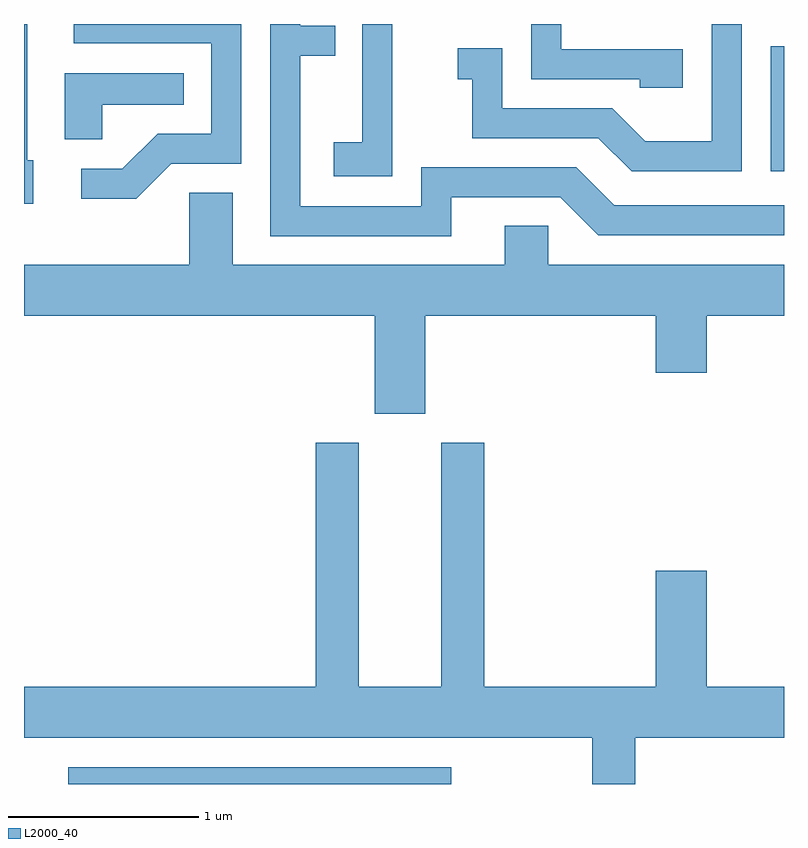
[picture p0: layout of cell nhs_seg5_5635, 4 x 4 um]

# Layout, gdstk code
import gdstk
lib = gdstk.Library(unit=1e-6, precision=1e-09)
def R(c, l, rs):  # rectangles x0, y0, x1, y1
    for r in rs: c.add(gdstk.rectangle(r[:2], r[2:], *l))
def P(c, l, *ps):  # polygons
    for p in ps: c.add(gdstk.Polygon(p, *l))
L2000_40 = (2000, 40)

nhs_seg5_5635 = lib.new_cell('nhs_seg5_5635')
R(nhs_seg5_5635, L2000_40, [(351.843,1492.072,353.859,1492.159), (355.541,1495.296,355.611,1495.954)])
P(nhs_seg5_5635, L2000_40, [(355.079,1495.939),(354.439,1495.939),(354.439,1496.072),(354.281,1496.072),(354.281,1495.781),(354.851,1495.781),(354.851,1495.736),(355.079,1495.736)],
  [(353.549,1496.072),(353.391,1496.072),(353.391,1495.449),(353.241,1495.449),(353.241,1495.271),(353.549,1495.271)],
  [(352.387,1495.336),(352.754,1495.336),(352.754,1496.072),(351.873,1496.072),(351.873,1495.971),(352.596,1495.971),(352.596,1495.494),(352.314,1495.494),(352.129,1495.309),(351.913,1495.309),(351.913,1495.151),(352.202,1495.151)],
  [(355.389,1496.072),(355.231,1496.072),(355.231,1495.454),(354.882,1495.454),(354.707,1495.629),(354.129,1495.629),(354.129,1495.944),(353.893,1495.944),(353.893,1495.781),(353.971,1495.781),(353.971,1495.471),(354.634,1495.471),(354.809,1495.296),(355.389,1495.296)],
  [(351.659,1495.354),(351.629,1495.354),(351.629,1496.072),(351.611,1496.072),(351.611,1495.126),(351.659,1495.126)],
  [(353.859,1495.161),(354.434,1495.161),(354.634,1494.961),(355.611,1494.961),(355.611,1495.119),(354.717,1495.119),(354.517,1495.319),(353.701,1495.319),(353.701,1495.114),(353.064,1495.114),(353.064,1495.906),(353.248,1495.906),(353.248,1496.064),(353.064,1496.064),(353.064,1496.072),(352.906,1496.072),(352.906,1494.956),(353.859,1494.956)],
  [(352.024,1495.646),(352.453,1495.646),(352.453,1495.814),(351.826,1495.814),(351.826,1495.466),(352.024,1495.466)],
  [(353.724,1494.536),(354.936,1494.536),(354.936,1494.236),(355.204,1494.236),(355.204,1494.536),(355.611,1494.536),(355.611,1494.804),(354.369,1494.804),(354.369,1495.009),(354.141,1495.009),(354.141,1494.804),(352.709,1494.804),(352.709,1495.184),(352.481,1495.184),(352.481,1494.804),(351.611,1494.804),(351.611,1494.536),(353.456,1494.536),(353.456,1494.021),(353.724,1494.021)],
  [(354.601,1492.072),(354.829,1492.072),(354.829,1492.316),(355.611,1492.316),(355.611,1492.584),(355.204,1492.584),(355.204,1493.194),(354.936,1493.194),(354.936,1492.584),(354.034,1492.584),(354.034,1493.869),(353.806,1493.869),(353.806,1492.584),(353.374,1492.584),(353.374,1493.869),(353.146,1493.869),(353.146,1492.584),(351.611,1492.584),(351.611,1492.316),(354.601,1492.316)])

lib.write_gds('nhs_seg5_5635.gds')
